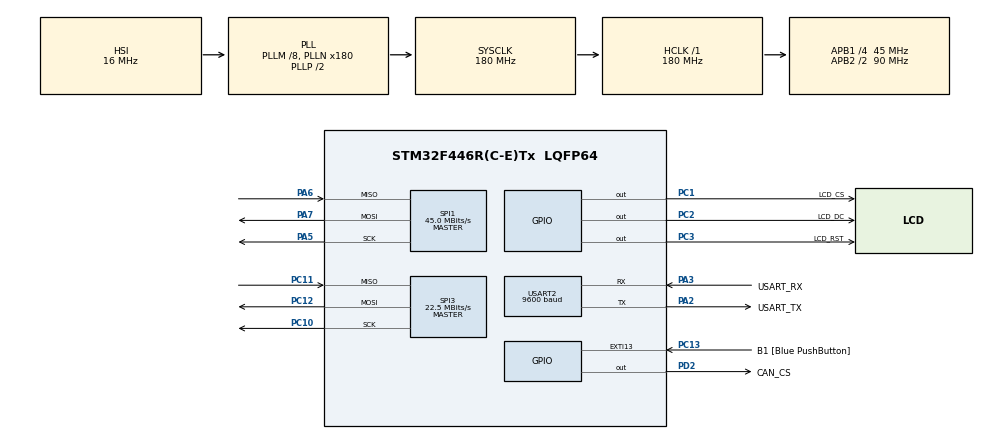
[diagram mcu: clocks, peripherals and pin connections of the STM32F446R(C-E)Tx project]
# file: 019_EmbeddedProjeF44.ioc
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Dma.Request0=SPI1_TX
Dma.SPI1_TX.0.Direction=DMA_MEMORY_TO_PERIPH
Dma.SPI1_TX.0.FIFOMode=DMA_FIFOMODE_DISABLE
Dma.SPI1_TX.0.Instance=DMA2_Stream3
Dma.SPI1_TX.0.MemDataAlignment=DMA_MDATAALIGN_BYTE
Dma.SPI1_TX.0.MemInc=DMA_MINC_ENABLE
Dma.SPI1_TX.0.Mode=DMA_NORMAL
Dma.SPI1_TX.0.PeriphDataAlignment=DMA_PDATAALIGN_BYTE
Dma.SPI1_TX.0.PeriphInc=DMA_PINC_DISABLE
Dma.SPI1_TX.0.Priority=DMA_PRIORITY_LOW
FREERTOS.Tasks01=defaultTask,0,2900,timerTask,Default,NULL,Dynamic,NULL,NULL;myTask02,-3,600,canTask,Default,NULL,Dynamic,NULL,NULL
FREERTOS.configUSE_NEWLIB_REENTRANT=1
Mcu.Family=STM32F4
Mcu.Name=STM32F446R(C-E)Tx
Mcu.Package=LQFP64
NVIC.DMA2_Stream3_IRQn=true\:5\:0\:false\:false\:true\:true\:false\:true\:true
NVIC.EXTI15_10_IRQn=true\:5\:0\:false\:false\:true\:true\:true\:true\:true
NVIC.PriorityGroup=NVIC_PRIORITYGROUP_4
NVIC.RTC_Alarm_IRQn=true\:5\:0\:false\:false\:true\:true\:true\:true\:true
NVIC.SPI1_IRQn=true\:5\:0\:false\:false\:true\:true\:true\:true\:true
NVIC.TIM2_IRQn=true\:15\:0\:false\:false\:true\:false\:false\:true\:true
NVIC.TimeBase=TIM2_IRQn
NVIC.TimeBaseIP=TIM2
PA13.GPIO_Label=TMS
PA13.Signal=SYS_JTMS-SWDIO
PA14.GPIO_Label=TCK
PA14.Signal=SYS_JTCK-SWCLK
PA2.GPIO_Label=USART_TX
PA2.Mode=Asynchronous
PA2.Signal=USART2_TX
PA3.GPIO_Label=USART_RX
PA3.Mode=Asynchronous
PA3.Signal=USART2_RX
PA5.Mode=Full_Duplex_Master
PA5.Signal=SPI1_SCK
PA6.Mode=Full_Duplex_Master
PA6.Signal=SPI1_MISO
PA7.Mode=Full_Duplex_Master
PA7.Signal=SPI1_MOSI
PB3.GPIO_Label=SWO
PB3.Signal=SYS_JTDO-SWO
PC1.GPIO_Label=LCD_CS
PC1.Signal=GPIO_Output
PC10.Mode=Full_Duplex_Master
PC10.Signal=SPI3_SCK
PC11.Mode=Full_Duplex_Master
PC11.Signal=SPI3_MISO
PC12.Mode=Full_Duplex_Master
PC12.Signal=SPI3_MOSI
PC13.GPIO_Label=B1 [Blue PushButton]
PC13.GPIO_ModeDefaultEXTI=GPIO_MODE_IT_FALLING
PC13.Signal=GPXTI13
PC14-OSC32_IN.Signal=RCC_OSC32_IN
PC15-OSC32_OUT.Signal=RCC_OSC32_OUT
PC2.GPIO_Label=LCD_DC
PC2.Signal=GPIO_Output
PC3.GPIO_Label=LCD_RST
PC3.Signal=GPIO_Output
PD2.GPIO_Label=CAN_CS
PD2.Signal=GPIO_Output
PH0-OSC_IN.Signal=RCC_OSC_IN
PH1-OSC_OUT.Signal=RCC_OSC_OUT
ProjectManager.HeapSize=0x200
ProjectManager.StackSize=0x400
ProjectManager.TargetToolchain=STM32CubeIDE
RCC.AHBFreq_Value=180000000
RCC.APB1CLKDivider=RCC_HCLK_DIV4
RCC.APB1Freq_Value=45000000
RCC.APB1TimFreq_Value=90000000
RCC.APB2CLKDivider=RCC_HCLK_DIV2
RCC.APB2Freq_Value=90000000
RCC.APB2TimFreq_Value=180000000
RCC.CortexFreq_Value=180000000
RCC.FLatency-AdvancedSettings=FLASH_LATENCY_5
RCC.HCLKFreq_Value=180000000
RCC.HSE_VALUE=8000000
RCC.HSI_VALUE=16000000
RCC.LSE_VALUE=32768
RCC.PLLM=8
RCC.PLLN=180
RCC.SYSCLKFreq_VALUE=180000000
RCC.SYSCLKSource=RCC_SYSCLKSOURCE_PLLCLK
RCC.USBFreq_Value=180000000
RCC.VCOOutputFreq_Value=360000000
RTC.Alarm=RTC_ALARM_A
SPI1.CalculateBaudRate=45.0 MBits/s
SPI1.Direction=SPI_DIRECTION_2LINES
SPI1.Mode=SPI_MODE_MASTER
SPI1.VirtualType=VM_MASTER
SPI3.CalculateBaudRate=22.5 MBits/s
SPI3.Direction=SPI_DIRECTION_2LINES
SPI3.Mode=SPI_MODE_MASTER
SPI3.VirtualType=VM_MASTER
USART2.BaudRate=9600
USART2.VirtualMode=VM_ASYNC
VP_FREERTOS_VS_CMSIS_V1.Mode=CMSIS_V1
VP_RTC_VS_RTC_Activate.Mode=RTC_Enabled
VP_RTC_VS_RTC_Alarm_A_Intern.Mode=Alarm A
VP_RTC_VS_RTC_Calendar.Mode=RTC_Calendar
VP_SYS_VS_tim2.Mode=TIM2
board=NUCLEO-F446RE

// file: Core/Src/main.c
/* USER CODE BEGIN Header */
/**
  ******************************************************************************
  * @file           : main.c
  * @brief          : Main program body
  ******************************************************************************
  * @attention
  *
  * Copyright (c) 2023 STMicroelectronics.
  * All rights reserved.
  *
  * This software is licensed under terms that can be found in the LICENSE file
  * in the root directory of this software component.
  * If no LICENSE file comes with this software, it is provided AS-IS.
  *
  ******************************************************************************
  */
/* USER CODE END Header */
#include "main.h"
#include "cmsis_os.h"

/* USER CODE BEGIN Includes */

#include "CANSPI.h"
#include "animation.h"
#include "string.h"
#include "stdio.h"
#include "IRF.h"
#include "canTask.h"

/* USER CODE END Includes */

RTC_HandleTypeDef hrtc;

SPI_HandleTypeDef hspi1;
SPI_HandleTypeDef hspi3;
DMA_HandleTypeDef hdma_spi1_tx;

UART_HandleTypeDef huart2;

osThreadId defaultTaskHandle;
osThreadId myTask02Handle;
/* USER CODE BEGIN PV */

RTC_TimeTypeDef sTime;
RTC_DateTypeDef sDate;
RTC_AlarmTypeDef sAlarm;

/*can structures*/
uCAN_MSG txMessage;
uCAN_MSG rxMessage;

uint32_t alarmTimer;

/* USER CODE END PV */

void SystemClock_Config(void);
static void MX_GPIO_Init(void);
static void MX_DMA_Init(void);
static void MX_SPI1_Init(void);
static void MX_USART2_UART_Init(void);
static void MX_RTC_Init(void);
static void MX_SPI3_Init(void);
void timerTask(void const * argument);
void canTask(void const * argument);

/* USER CODE BEGIN 0 */

char txTime[50];
uint8_t secondValue;

/* USER CODE END 0 */

int main(void)
{

  /* MCU Configuration--------------------------------------------------------*/

  /* Reset of all peripherals, Initializes the Flash interface and the Systick. */
  HAL_Init();

  /* Configure the system clock */
  SystemClock_Config();

  /* Initialize all configured peripherals */
  MX_GPIO_Init();
  MX_DMA_Init();
  MX_SPI1_Init();
  MX_USART2_UART_Init();
  MX_RTC_Init();
  MX_SPI3_Init();
  /* USER CODE BEGIN 2 */

  ILI9341_Init();
  ILI9341_FillScreen(BLACK);
  CANSPI_Initialize();
  MD_TimeSet();

  waitForStart:
  while( (!CANSPI_Receive(&rxMessage)) && (!HAL_GPIO_ReadPin(B1_GPIO_Port, B1_Pin) == GPIO_PIN_RESET));
  if(rxMessage.frame.dlc !=0)
  {
	  uint32_t irfCode = 0;
	  irfCode |= rxMessage.frame.data0;
	  irfCode |= rxMessage.frame.data1 << 8;
	  irfCode |= rxMessage.frame.data2 << 16;
	  if(irfCode != IRF_STAR)
		  goto waitForStart;
  }
  MD_Intro();

  /* USER CODE END 2 */

  /* Create the thread(s) */
  /* definition and creation of defaultTask */
  osThreadDef(defaultTask, timerTask, osPriorityNormal, 0, 2900);
  defaultTaskHandle = osThreadCreate(osThread(defaultTask), NULL);

  /* definition and creation of myTask02 */
  osThreadDef(myTask02, canTask, osPriorityIdle, 0, 600);
  myTask02Handle = osThreadCreate(osThread(myTask02), NULL);

  /* Start scheduler */
  osKernelStart();

  /* We should never get here as control is now taken by the scheduler */
  /* Infinite loop */
  while (1)
  {

  }
}

void SystemClock_Config(void)
{
  RCC_OscInitTypeDef RCC_OscInitStruct = {0};
  RCC_ClkInitTypeDef RCC_ClkInitStruct = {0};

  /** Configure the main internal regulator output voltage
  */
  __HAL_RCC_PWR_CLK_ENABLE();
  __HAL_PWR_VOLTAGESCALING_CONFIG(PWR_REGULATOR_VOLTAGE_SCALE1);

  /** Initializes the RCC Oscillators according to the specified parameters
  * in the RCC_OscInitTypeDef structure.
  */
  RCC_OscInitStruct.OscillatorType = RCC_OSCILLATORTYPE_HSI|RCC_OSCILLATORTYPE_LSI;
  RCC_OscInitStruct.LSEState = RCC_LSE_OFF;
  RCC_OscInitStruct.HSIState = RCC_HSI_ON;
  RCC_OscInitStruct.HSICalibrationValue = RCC_HSICALIBRATION_DEFAULT;
  RCC_OscInitStruct.LSIState = RCC_LSI_ON;
  RCC_OscInitStruct.PLL.PLLState = RCC_PLL_ON;
  RCC_OscInitStruct.PLL.PLLSource = RCC_PLLSOURCE_HSI;
  RCC_OscInitStruct.PLL.PLLM = 8;
  RCC_OscInitStruct.PLL.PLLN = 180;
  RCC_OscInitStruct.PLL.PLLP = RCC_PLLP_DIV2;
  RCC_OscInitStruct.PLL.PLLQ = 2;
  RCC_OscInitStruct.PLL.PLLR = 2;
  if (HAL_RCC_OscConfig(&RCC_OscInitStruct) != HAL_OK)
  {
    Error_Handler();
  }

  /** Activate the Over-Drive mode
  */
  if (HAL_PWREx_EnableOverDrive() != HAL_OK)
  {
    Error_Handler();
  }

  /** Initializes the CPU, AHB and APB buses clocks
  */
  RCC_ClkInitStruct.ClockType = RCC_CLOCKTYPE_HCLK|RCC_CLOCKTYPE_SYSCLK
                              |RCC_CLOCKTYPE_PCLK1|RCC_CLOCKTYPE_PCLK2;
  RCC_ClkInitStruct.SYSCLKSource = RCC_SYSCLKSOURCE_PLLCLK;
  RCC_ClkInitStruct.AHBCLKDivider = RCC_SYSCLK_DIV1;
  RCC_ClkInitStruct.APB1CLKDivider = RCC_HCLK_DIV4;
  RCC_ClkInitStruct.APB2CLKDivider = RCC_HCLK_DIV2;

  if (HAL_RCC_ClockConfig(&RCC_ClkInitStruct, FLASH_LATENCY_5) != HAL_OK)
  {
    Error_Handler();
  }
}

static void MX_RTC_Init(void)
{

  RTC_TimeTypeDef sTime = {0};
  RTC_DateTypeDef sDate = {0};
  RTC_AlarmTypeDef sAlarm = {0};

  /** Initialize RTC Only
  */
  hrtc.Instance = RTC;
  hrtc.Init.HourFormat = RTC_HOURFORMAT_24;
  hrtc.Init.AsynchPrediv = 127;
  hrtc.Init.SynchPrediv = 255;
  hrtc.Init.OutPut = RTC_OUTPUT_DISABLE;
  hrtc.Init.OutPutPolarity = RTC_OUTPUT_POLARITY_HIGH;
  hrtc.Init.OutPutType = RTC_OUTPUT_TYPE_OPENDRAIN;
  if (HAL_RTC_Init(&hrtc) != HAL_OK)
  {
    Error_Handler();
  }

  /** Initialize RTC and set the Time and Date
  */
  sTime.Hours = 0x0;
  sTime.Minutes = 0x0;
  sTime.Seconds = 0x0;
  sTime.DayLightSaving = RTC_DAYLIGHTSAVING_NONE;
  sTime.StoreOperation = RTC_STOREOPERATION_RESET;
  if (HAL_RTC_SetTime(&hrtc, &sTime, RTC_FORMAT_BCD) != HAL_OK)
  {
    Error_Handler();
  }
  sDate.WeekDay = RTC_WEEKDAY_MONDAY;
  sDate.Month = RTC_MONTH_JANUARY;
  sDate.Date = 0x1;
  sDate.Year = 0x0;

  if (HAL_RTC_SetDate(&hrtc, &sDate, RTC_FORMAT_BCD) != HAL_OK)
  {
    Error_Handler();
  }

  /** Enable the Alarm A
  */
  sAlarm.AlarmTime.Hours = 12;
  sAlarm.AlarmTime.Minutes = 30;
  sAlarm.AlarmTime.Seconds = 10;
  sAlarm.AlarmTime.SubSeconds = 0x0;
  sAlarm.AlarmTime.DayLightSaving = RTC_DAYLIGHTSAVING_NONE;
  sAlarm.AlarmTime.StoreOperation = RTC_STOREOPERATION_RESET;
  sAlarm.AlarmMask = RTC_ALARMMASK_NONE;
  sAlarm.AlarmSubSecondMask = RTC_ALARMSUBSECONDMASK_ALL;
  sAlarm.AlarmDateWeekDaySel = RTC_ALARMDATEWEEKDAYSEL_DATE;
  sAlarm.AlarmDateWeekDay = 0x1;
  sAlarm.Alarm = RTC_ALARM_A;
  if (HAL_RTC_SetAlarm_IT(&hrtc, &sAlarm, RTC_FORMAT_BCD) != HAL_OK)
  {
    Error_Handler();
  }

}

static void MX_SPI1_Init(void)
{

  /* SPI1 parameter configuration*/
  hspi1.Instance = SPI1;
  hspi1.Init.Mode = SPI_MODE_MASTER;
  hspi1.Init.Direction = SPI_DIRECTION_2LINES;
  hspi1.Init.DataSize = SPI_DATASIZE_8BIT;
  hspi1.Init.CLKPolarity = SPI_POLARITY_LOW;
  hspi1.Init.CLKPhase = SPI_PHASE_1EDGE;
  hspi1.Init.NSS = SPI_NSS_SOFT;
  hspi1.Init.BaudRatePrescaler = SPI_BAUDRATEPRESCALER_2;
  hspi1.Init.FirstBit = SPI_FIRSTBIT_MSB;
  hspi1.Init.TIMode = SPI_TIMODE_DISABLE;
  hspi1.Init.CRCCalculation = SPI_CRCCALCULATION_DISABLE;
  hspi1.Init.CRCPolynomial = 10;
  if (HAL_SPI_Init(&hspi1) != HAL_OK)
  {
    Error_Handler();
  }

}

static void MX_SPI3_Init(void)
{

  /* SPI3 parameter configuration*/
  hspi3.Instance = SPI3;
  hspi3.Init.Mode = SPI_MODE_MASTER;
  hspi3.Init.Direction = SPI_DIRECTION_2LINES;
  hspi3.Init.DataSize = SPI_DATASIZE_8BIT;
  hspi3.Init.CLKPolarity = SPI_POLARITY_LOW;
  hspi3.Init.CLKPhase = SPI_PHASE_1EDGE;
  hspi3.Init.NSS = SPI_NSS_SOFT;
  hspi3.Init.BaudRatePrescaler = SPI_BAUDRATEPRESCALER_2;
  hspi3.Init.FirstBit = SPI_FIRSTBIT_MSB;
  hspi3.Init.TIMode = SPI_TIMODE_DISABLE;
  hspi3.Init.CRCCalculation = SPI_CRCCALCULATION_DISABLE;
  hspi3.Init.CRCPolynomial = 10;
  if (HAL_SPI_Init(&hspi3) != HAL_OK)
  {
    Error_Handler();
  }

}

static void MX_USART2_UART_Init(void)
{

  huart2.Instance = USART2;
  huart2.Init.BaudRate = 9600;
  huart2.Init.WordLength = UART_WORDLENGTH_8B;
  huart2.Init.StopBits = UART_STOPBITS_1;
  huart2.Init.Parity = UART_PARITY_NONE;
  huart2.Init.Mode = UART_MODE_TX_RX;
  huart2.Init.HwFlowCtl = UART_HWCONTROL_NONE;
  huart2.Init.OverSampling = UART_OVERSAMPLING_16;
  if (HAL_UART_Init(&huart2) != HAL_OK)
  {
    Error_Handler();
  }

}

static void MX_DMA_Init(void)
{

  /* DMA controller clock enable */
  __HAL_RCC_DMA2_CLK_ENABLE();

  /* DMA interrupt init */
  /* DMA2_Stream3_IRQn interrupt configuration */
  HAL_NVIC_SetPriority(DMA2_Stream3_IRQn, 5, 0);
  HAL_NVIC_EnableIRQ(DMA2_Stream3_IRQn);

}

static void MX_GPIO_Init(void)
{
  GPIO_InitTypeDef GPIO_InitStruct = {0};

  /* GPIO Ports Clock Enable */
  __HAL_RCC_GPIOC_CLK_ENABLE();
  __HAL_RCC_GPIOH_CLK_ENABLE();
  __HAL_RCC_GPIOA_CLK_ENABLE();
  __HAL_RCC_GPIOD_CLK_ENABLE();
  __HAL_RCC_GPIOB_CLK_ENABLE();

  /*Configure GPIO pin Output Level */
  HAL_GPIO_WritePin(GPIOC, LCD_CS_Pin|LCD_DC_Pin|LCD_RST_Pin, GPIO_PIN_RESET);

  /*Configure GPIO pin Output Level */
  HAL_GPIO_WritePin(CAN_CS_GPIO_Port, CAN_CS_Pin, GPIO_PIN_RESET);

  /*Configure GPIO pin : B1_Pin */
  GPIO_InitStruct.Pin = B1_Pin;
  GPIO_InitStruct.Mode = GPIO_MODE_IT_FALLING;
  GPIO_InitStruct.Pull = GPIO_NOPULL;
  HAL_GPIO_Init(B1_GPIO_Port, &GPIO_InitStruct);

  /*Configure GPIO pins : LCD_CS_Pin LCD_DC_Pin LCD_RST_Pin */
  GPIO_InitStruct.Pin = LCD_CS_Pin|LCD_DC_Pin|LCD_RST_Pin;
  GPIO_InitStruct.Mode = GPIO_MODE_OUTPUT_PP;
  GPIO_InitStruct.Pull = GPIO_NOPULL;
  GPIO_InitStruct.Speed = GPIO_SPEED_FREQ_LOW;
  HAL_GPIO_Init(GPIOC, &GPIO_InitStruct);

  /*Configure GPIO pin : CAN_CS_Pin */
  GPIO_InitStruct.Pin = CAN_CS_Pin;
  GPIO_InitStruct.Mode = GPIO_MODE_OUTPUT_PP;
  GPIO_InitStruct.Pull = GPIO_NOPULL;
  GPIO_InitStruct.Speed = GPIO_SPEED_FREQ_LOW;
  HAL_GPIO_Init(CAN_CS_GPIO_Port, &GPIO_InitStruct);

  /* EXTI interrupt init*/
  HAL_NVIC_SetPriority(EXTI15_10_IRQn, 5, 0);
  HAL_NVIC_EnableIRQ(EXTI15_10_IRQn);

}

void timerTask(void const * argument)
{
  /* USER CODE BEGIN 5 */
  /* Infinite loop */
  for(;;)
  {
	  HAL_RTC_GetTime(&hrtc, &sTime, RTC_FORMAT_BIN);
	  HAL_RTC_GetDate(&hrtc, &sDate, RTC_FORMAT_BIN);
	  if(sTime.Seconds != secondValue && pageSetting.pageNumber == PAGE1 && pageSetting.lock == LOCK_OFF)
	  {
		  secondValue = sTime.Seconds;
		  sprintf(txTime,"%02d:%02d:%02d",sTime.Hours, sTime.Minutes, sTime.Seconds);
		  ILI9341_DrawText(txTime, FONT4, 130, 130, RED, CYAN);
	  }
	  osDelay(200);

	  /*This loop update the time*/
  }
  /* USER CODE END 5 */
}

void canTask(void const * argument)
{
  /* USER CODE BEGIN canTask */
  /* Infinite loop */
  for(;;)
  {
	  if(CANSPI_Receive(&rxMessage))		/*receiver IRF controller message*/
	  {
		  uint32_t irfCode = 0;
		  uint8_t idType = rxMessage.frame.idType;
		  uint32_t id = rxMessage.frame.id;
		  uint8_t dlc = rxMessage.frame.dlc;

		  if(idType == dSTANDARD_CAN_MSG_ID_2_0B && id == 0x0A && dlc == 3)
		  {
			  irfCode |= rxMessage.frame.data0;
			  irfCode |= rxMessage.frame.data1 <<8;
			  irfCode |= rxMessage.frame.data2 << 16;
			  irfCanTask(irfCode);
		  }
	  }
	  if(MD_IsAlarm())				  		/*Check the alarm time*/
	  {
		  if(pageSetting.lock == LOCK_ON)
		  {
			  canTx(ALARM_ENABLE);
			  MD_Intro();
			  pageSetting.lock = LOCK_OFF;
			  alarmTimer = 1;
		  }
	  }										/*if alarm is active start timers*/
	  if(alarmTimer != 0)
		  alarmTimer++;
	  if(alarmTimer > 1250)					/*20 * 1250 = 15second waiting*/
	  {
		  canTx(CAR_CLOSE);
		  irfCanTask(IRF_SQUARE);
		  alarmTimer = 0;
	  }
	  osDelay(20);
  }
  /* USER CODE END canTask */
}

void HAL_TIM_PeriodElapsedCallback(TIM_HandleTypeDef *htim)
{
  if (htim->Instance == TIM2) {
    HAL_IncTick();
  }
}

void Error_Handler(void)
{
  __disable_irq();
  while (1)
  {
  }
}
